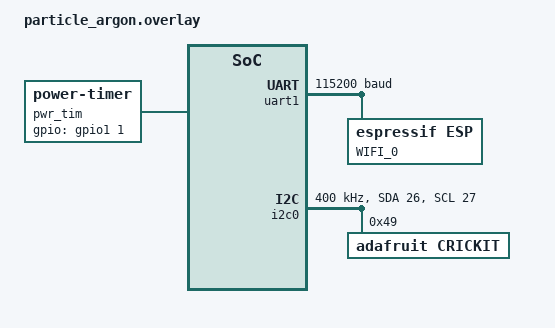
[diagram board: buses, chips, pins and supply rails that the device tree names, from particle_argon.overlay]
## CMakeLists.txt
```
# SPDX-License-Identifier: Apache-2.0

cmake_minimum_required(VERSION 3.13.1)
find_package(Zephyr REQUIRED HINTS $ENV{ZEPHYR_BASE})
project(app)

# include the CMakeLists.txt file from the myoslib directory
set(MYOSLIB_DIR ../myoslib)
include(${MYOSLIB_DIR}/CMakeLists.txt)

# define a list of myoslibs used
list(APPEND myoslib_srcs
    ${hal_mqtt_srcs}
    ${hal_wifi_srcs}
    ${meas_packet_pb_srcs}
)

# compile our source code with myoslibs
target_sources(app PRIVATE src/main.c ${myoslib_srcs})
```

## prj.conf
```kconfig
# Particle argon connection
CONFIG_GPIO=y

CONFIG_NETWORKING=y

CONFIG_NET_TX_STACK_SIZE=2048
CONFIG_NET_RX_STACK_SIZE=2048

CONFIG_NET_PKT_RX_COUNT=10
CONFIG_NET_PKT_TX_COUNT=10
CONFIG_NET_BUF_RX_COUNT=20
CONFIG_NET_BUF_TX_COUNT=20
CONFIG_NET_MAX_CONTEXTS=10

CONFIG_NET_IPV4=y
CONFIG_NET_IPV6=n
CONFIG_NET_TCP=y
CONFIG_NET_LOG=y
CONFIG_INIT_STACKS=y

CONFIG_NET_STATISTICS=y
CONFIG_NET_STATISTICS_PERIODIC_OUTPUT=n

CONFIG_WIFI=y
CONFIG_WIFI_ESP=y

CONFIG_MQTT_LIB=y
CONFIG_MQTT_LOG_LEVEL_INF=y
CONFIG_MAIN_STACK_SIZE=4096
CONFIG_NET_BUF_DATA_SIZE=256
CONFIG_HEAP_MEM_POOL_SIZE=1024

# SEGGER configuration
CONFIG_USE_SEGGER_RTT=y
CONFIG_RTT_CONSOLE=y
CONFIG_CBPRINTF_FP_SUPPORT=y
CONFIG_NEWLIB_LIBC=y

# CRICKIT configuration
CONFIG_SENSOR=y
CONFIG_I2C=y
CONFIG_SHIELD_CRICKIT=y
```

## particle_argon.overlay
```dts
/ {
    pwr_tim: pwr-tim-ctrl {
		compatible = "power-timer";
		gpios = <&gpio1 1 GPIO_ACTIVE_HIGH>;
	};

    aliases {
		pwr = &pwr_tim;
	};
};

&uart1 { /* ESP32 */
    current-speed = <115200>;

    wifi: wifi {
        compatible = "espressif,esp";
        label = "WIFI_0";
        status = "okay";
    };
};

&i2c0 { /* feather I2C0 */
    compatible = "nordic,nrf-twim";  // this makes the bus an I2C bus
    status = "okay";
    clock-frequency = <I2C_BITRATE_FAST>;
    sda-pin = <26>;
    scl-pin = <27>;

    crickit: crickit@49 {
        compatible = "adafruit,crickit";
        reg = <0x49>;
        label = "CRICKIT";
    };
};
```

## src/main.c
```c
/**
***************************************************************
* @file apps/p3/MOBILE/src/main.c
* @author Lachlan Smith - s4482220
* @date 08032021
* @brief Practical 3
*************************************************************** */

/* Includes --------------------------------------------------- */

#include <zephyr.h>
#include <device.h>
#include <sys/printk.h>
#include <math.h>

#include <logging/log.h>
#include <drivers/gpio.h>
#include <drivers/shields/crickit.h>

#include "hal_wifi.h"
#include "hal_mqtt.h"

/* Typedefs --------------------------------------------------- */

typedef struct {

    double volt_out;
    double volt_ref;

} methane_sensor;

/* Defines ---------------------------------------------------- */

#define PPM_THRES                   5000        // 5000 ppm
#define VENT_DURATION               300000      // 5 minutes
#define BOUYANCY_DELAY              5000        // 5 seconds

#define PWR_NODE                    DT_ALIAS(pwr)
#define PWR_LABEL                   DT_GPIO_LABEL(PWR_NODE, gpios)
#define PWR_PIN                     DT_GPIO_PIN(PWR_NODE, gpios)
#define PWR_FLAGS                   DT_GPIO_FLAGS(PWR_NODE, gpios)

#define VOLT_OUT_SIGNAL             CRICKIT_SIGNAL1
#define VOLT_REF_SIGNAL             CRICKIT_SIGNAL2
#define PUMP_CHANNEL1               CRICKIT_MOTOR_A1
#define PUMP_CHANNEL2               CRICKIT_MOTOR_A2
#define VALVE_CHANNEL1              CRICKIT_MOTOR_B1
#define VALVE_CHANNEL2              CRICKIT_MOTOR_B2

#define M0                          (-2.969362296f)
#define M1                          (-2.321928095f)
#define M2                          (-2.40942084f)
#define C0                          (3.893867119f)
#define C1                          (3.698970004f)
#define C2                          (3.698970004f)
#define VCC                         (5.0f)

#define BREAK0                      (2.0f)
#define BREAK1                      (1.0f)
#define BREAK2                      (0.75f)

/* Macros ----------------------------------------------------- */

/* Variables -------------------------------------------------- */

/* Prototypes ------------------------------------------------ */

LOG_MODULE_REGISTER(app, CONFIG_LOG_DEFAULT_LEVEL);

/**
 * @brief Configure the power timer pin
 *
 * @param dev Pointer to the power timer gpio bus
 *
 * @retval 0 If successful.
 * @retval -EIO General input / output error.
 */
int pwr_timer_init(const struct device *dev) {

    return gpio_pin_configure(dev, PWR_PIN, GPIO_OUTPUT_INACTIVE);
}

/**
 * @brief Set the power timer pin high to turn of the device
 *
 * @param dev Pointer to the power timer gpio bus
 *
 * @retval 0 If successful.
 * @retval -EIO General input / output error.
 */
int power_off(const struct device *dev) {

    return gpio_pin_set(dev, PWR_PIN, 1);
}

/**
 * @brief Set the power timer pin high to turn of the device
 *
 * @param sensor Methane sensor voltage out and ref structure
 *
 * @retval parts per million methane measurement in the chamber
 */
static uint32_t convert_voltage_concentration(methane_sensor *sensor) {

    float RsRo = ((VCC / sensor->volt_out) - 1) / ((VCC / sensor->volt_ref) - 1);

    float logRsRo = log10(RsRo);
    float logC = 0.0f;

    if (RsRo > BREAK0) {

        logC = M0 * logRsRo + C0;
    } else if (RsRo > BREAK1) {

        logC = M1 * logRsRo + C1;
    } else {

        logC = M2 * logRsRo + C2;
    }

    float C = pow(10.0f, logC);

    return (uint32_t)C;
}


/**
 * @brief Convert the raw sensor voltage to a value
 *
 * @param raw raw sample voltage value from the sensor
 *
 * @retval 0 If successful.
 * @retval -EIO General input / output error.
 */
static double convert_voltage_sample(int16_t raw) {

    double val = (double)((double)(raw) / 310.3f);

    return val;

}

/**
 * @brief Take voltage out and ref samples from the methane sensor
 *
 * @param dev Pointer to the crickit device structure
 * @param sensor Methane sensor voltage out and ref structure
 *
 * @retval 0 If successful.
 * @retval -EIO General input / output error.
 */
int methane_sample_fetch(const struct device *dev, methane_sensor *sensor) {

    int err;
    const struct crickit_api *crickit = dev->api;

    uint16_t val[1];

    err = crickit->analog_read(dev, VOLT_OUT_SIGNAL, val);
    if (err) {
        LOG_ERR("failed fetch methane sensor voltage out (err %d)", err);
        return err;
    }

    sensor->volt_out = convert_voltage_sample(val[0]);

    err = crickit->analog_read(dev, VOLT_REF_SIGNAL, val);
    if (err) {
        LOG_ERR("failed fetch methane sensor voltage ref (err %d)", err);
        return err;
    }

    sensor->volt_ref = convert_voltage_sample(val[0]);

    return 0;
}

/**
 * @brief Turn the pump on connected to the CRICKIT board
 *
 * @param dev Pointer to the crickit device structure
 *
 * @retval 0 If successful.
 * @retval -EIO General input / output error.
 */
int turn_pump_on(const struct device *dev) {

    int err;

    const struct crickit_api *crickit = dev->api;

    err = crickit->analog_write(dev, PUMP_CHANNEL1, 65535);
    if (err) {
        LOG_ERR("failed turn on pump channel 1");
        return err;
    }

    err = crickit->analog_write(dev, PUMP_CHANNEL2, 0);
    if (err) {
        LOG_ERR("failed turn on pump channel 2");
        return err;
    }

    return 0;
}

/**
 * @brief Turn the pump off connected to the CRICKIT board
 *
 * @param dev Pointer to the crickit device structure
 *
 * @retval 0 If successful.
 * @retval -EIO General input / output error.
 */
int turn_pump_off(const struct device *dev) {

    int err;

    const struct crickit_api *crickit = dev->api;

    err = crickit->analog_write(dev, PUMP_CHANNEL1, 0);
    if (err) {
        LOG_ERR("failed turn off pump channel 1");
        return err;
    }

    err = crickit->analog_write(dev, PUMP_CHANNEL2, 0);
    if (err) {
        LOG_ERR("failed turn off pump channel 2");
        return err;
    }

    return 0;
}

/**
 * @brief Open the valve connected to the CRICKIT board
 *
 * @param dev Pointer to the crickit device structure
 *
 * @retval 0 If successful.
 * @retval -EIO General input / output error.
 */
int open_valve(const struct device *dev) {

    int err;

    const struct crickit_api *crickit = dev->api;

    err = crickit->analog_write(dev, VALVE_CHANNEL1, 65535);
    if (err) {
        LOG_ERR("failed open valve channel 1");
        return err;
    }

    err = crickit->analog_write(dev, VALVE_CHANNEL2, 0);
    if (err) {
        LOG_ERR("failed open valve channel 2");
        return err;
    }

    return 0;
}

/**
 * @brief Close the valve connected to the CRICKIT board
 *
 * @param dev Pointer to the crickit device structure
 *
 * @retval 0 If successful.
 * @retval -EIO General input / output error.
 */
int close_valve(const struct device *dev) {

    int err;

    const struct crickit_api *crickit = dev->api;

    err = crickit->analog_write(dev, VALVE_CHANNEL1, 0);
    if (err) {
        LOG_ERR("failed open valve channel 1");
        return err;
    }

    err = crickit->analog_write(dev, VALVE_CHANNEL2, 0);
    if (err) {
        LOG_ERR("failed open valve channel 2");
        return err;
    }

    return 0;
}

/**
 * @brief Main methane ppm publishing device application
 */
void main(void) {

    int err;
    methane_sensor sensor;


    const struct device *pwr_bus = device_get_binding(PWR_LABEL);
    if (!pwr_bus) {
        LOG_ERR("failed configure power timer");
        return;
    }

    err = pwr_timer_init(pwr_bus);
    if (err) {
        return;
    }

    /* Can the device find its crickit shield */
    const struct device *crickit = device_get_binding(DT_LABEL(DT_INST(0, adafruit_crickit)));
    if (!crickit) {
        LOG_ERR("failed to find the CRICKIT board");
        return;
    }

    /* Attempt to connect to the wifi */
    hal_wifi_init();
	hal_mqtt_init();

    LOG_INF("Init ok");

    /* Allow initialisation time to complete */
    k_sleep(K_MSEC(250));

    /* Take methane voltage out and ref measurements  */
    err = methane_sample_fetch(crickit, &sensor);
    if (err) {
        goto OFF;
    }

    /* Convert the measurements into a PPM concentration */
    uint32_t ppm = convert_voltage_concentration(&sensor);

    LOG_INF("ppm: %d", ppm);

    /* Push the measurements to the dashboard */
    hal_mqtt_payload_update(sensor.volt_ref, ppm);
    hal_mqtt_publish();

    /* Do we need to vent the chamber */
    if (ppm > PPM_THRES) {

        /* Pump in fresh air */
        err = turn_pump_on(crickit);
        if (err) {
            goto OFF;
        }

        /* Allow air to circulate out */
        err = open_valve(crickit);
        if (err) {
            goto OFF;
        }

        /* Spend time venting the chamber */
        k_sleep(K_MSEC(VENT_DURATION));

        err = turn_pump_off(crickit);
        if (err) {
            goto OFF;
        }

        /* Wait a small amount of time for pressure to equalise */
        k_sleep(K_MSEC(BOUYANCY_DELAY));

        err = close_valve(crickit);
        if (err) {
            goto OFF;
        }
    }

    k_sleep(K_MSEC(250));

    /* write high to the power timer regulator */
    OFF:power_off(pwr_bus);

    /* Should never get here */
    LOG_ERR("failed power off");
}
```
